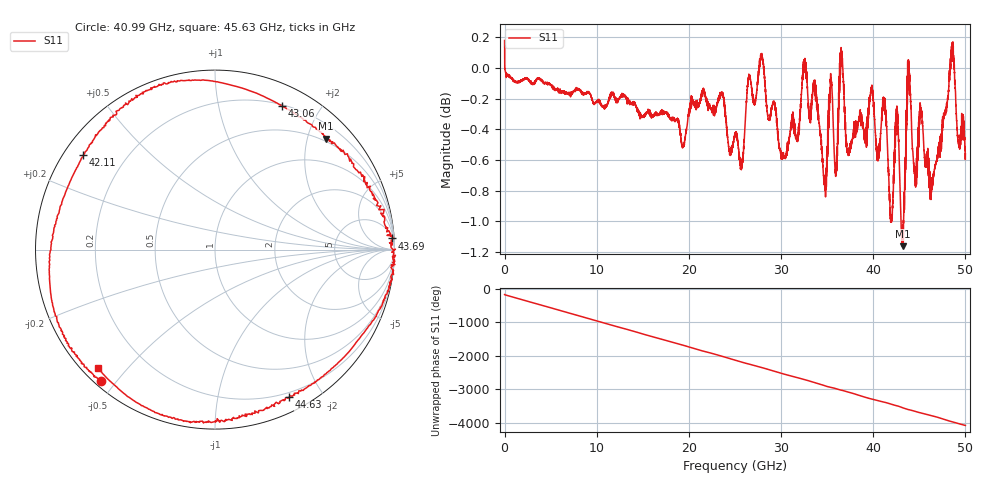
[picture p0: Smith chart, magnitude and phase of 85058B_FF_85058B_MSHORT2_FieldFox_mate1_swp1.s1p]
!Created with skrf (http://scikit-rf.org).
# Hz S RI R 50.0
!freq ReS11 ImS11
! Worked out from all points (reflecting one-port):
!   10001 points, 300 kHz to 50 GHz, reference 50 ohm
!   lowest |S11| = -1.2 dB at 43.24 GHz (marker M1), VSWR 14.97, Z = 22.2 + j117 ohm
!   phase of S11 starts at -175 deg and turns -3902 deg over the sweep
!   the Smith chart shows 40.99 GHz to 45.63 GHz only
!   S11 on the Smith chart (normalised r, x): 40.99 GHz: 0.02, -0.46; 42.11 GHz: 0.06, +0.32; 43.06 GHz: 0.21, +1.55; 43.69 GHz: 6, +30; 44.63 GHz: 0.15, -1.61; 45.63 GHz: 0.04, -0.42
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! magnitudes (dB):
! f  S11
! 300 kHz  0.2
! 6.25 GHz  -0.1
! 12.5 GHz  -0.2
! 18.75 GHz  -0.3
! 25 GHz  -0.4
! 25.72 GHz  -0.6
! 27.85 GHz  0.1
! 30.06 GHz  -0.6
! 31.25 GHz  -0.4
! 32.58 GHz  0.0
! 34.74 GHz  -0.8
! 35.38 GHz  -0.1
! 35.99 GHz  -0.6
! 36.56 GHz  0.0
! 37.5 GHz  -0.5
! 40.99 GHz  -0.3
! 42.11 GHz  -0.9
! 42.58 GHz  -0.3
! 43.06 GHz  -1.1
! 43.24 GHz  -1.2
! 43.69 GHz  -0.1
! 43.75 GHz  -0.1
! 44.63 GHz  -0.7
! 45.15 GHz  -0.3
! 45.63 GHz  -0.6
! 46.4 GHz  -0.8
! 48.56 GHz  0.2
! 50 GHz  -0.6
